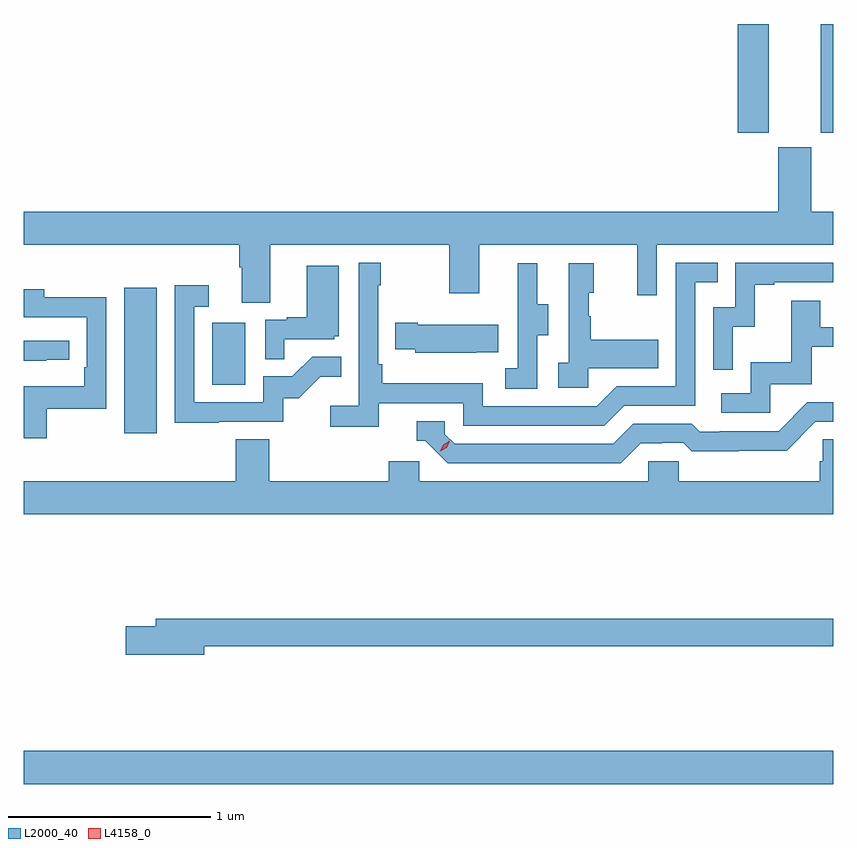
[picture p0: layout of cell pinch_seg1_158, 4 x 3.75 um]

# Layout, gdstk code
import gdstk
lib = gdstk.Library(unit=1e-6, precision=1e-09)
def R(c, l, rs):  # rectangles x0, y0, x1, y1
    for r in rs: c.add(gdstk.rectangle(r[:2], r[2:], *l))
def P(c, l, *ps):  # polygons
    for p in ps: c.add(gdstk.Polygon(p, *l))
L2000_40 = (2000, 40)
L4158_0 = (4158, 0)

pinch_seg1_158 = lib.new_cell('pinch_seg1_158')
R(pinch_seg1_158, L2000_40, [(1083.469,553.064,1087.469,553.228), (1083.965,554.796,1084.126,555.517), (1084.4,555.036,1084.564,555.343), (1086.998,556.281,1087.15,556.819), (1087.406,556.281,1087.469,556.819)])
P(pinch_seg1_158, L2000_40, [(1084.687,555.728),(1085.572,555.728),(1085.572,555.489),(1085.719,555.489),(1085.719,555.728),(1086.5,555.728),(1086.5,555.48),(1086.597,555.48),(1086.597,555.728),(1087.469,555.728),(1087.469,555.892),(1087.36,555.892),(1087.36,556.209),(1087.196,556.209),(1087.196,555.892),(1083.469,555.892),(1083.469,555.728),(1084.535,555.728),(1084.535,555.616),(1084.547,555.616),(1084.547,555.442),(1084.687,555.442)],
  [(1085.222,554.946),(1085.64,554.946),(1085.64,554.835),(1086.337,554.835),(1086.436,554.934),(1086.786,554.934),(1086.786,555.543),(1086.899,555.543),(1086.899,555.639),(1086.69,555.639),(1086.69,555.03),(1086.399,555.03),(1086.3,554.931),(1085.736,554.931),(1085.736,555.043),(1085.24,555.043),(1085.24,555.139),(1085.22,555.139),(1085.22,555.527),(1085.233,555.527),(1085.233,555.64),(1085.124,555.64),(1085.124,554.932),(1084.983,554.932),(1084.983,554.83),(1085.222,554.83)],
  [(1086.972,555.323),(1087.082,555.323),(1087.082,555.531),(1087.177,555.531),(1087.177,555.543),(1087.469,555.543),(1087.469,555.639),(1086.984,555.639),(1086.984,555.42),(1086.876,555.42),(1086.876,555.111),(1086.972,555.111)],
  [(1086.258,555.119),(1086.605,555.119),(1086.605,555.259),(1086.271,555.259),(1086.271,555.374),(1086.261,555.374),(1086.261,555.492),(1086.286,555.492),(1086.286,555.637),(1086.162,555.637),(1086.162,555.146),(1086.111,555.146),(1086.111,555.021),(1086.258,555.021)],
  [(1086.006,555.28),(1086.061,555.28),(1086.061,555.435),(1086.007,555.435),(1086.007,555.637),(1085.909,555.637),(1085.909,555.423),(1085.91,555.423),(1085.91,555.119),(1085.847,555.119),(1085.847,555.016),(1086.006,555.016)],
  [(1084.757,555.261),(1085.004,555.261),(1085.004,555.276),(1085.026,555.276),(1085.026,555.625),(1084.868,555.625),(1084.868,555.37),(1084.769,555.37),(1084.769,555.357),(1084.662,555.357),(1084.662,555.163),(1084.757,555.163)],
  [(1084.433,554.853),(1084.752,554.853),(1084.752,554.97),(1084.828,554.97),(1084.935,555.077),(1085.039,555.077),(1085.039,555.176),(1084.895,555.176),(1084.797,555.078),(1084.653,555.078),(1084.653,554.949),(1084.311,554.949),(1084.311,555.423),(1084.384,555.423),(1084.384,555.529),(1084.215,555.529),(1084.215,554.848),(1084.433,554.848)],
  [(1083.583,554.919),(1083.876,554.919),(1083.876,555.47),(1083.571,555.47),(1083.571,555.508),(1083.469,555.508),(1083.469,555.369),(1083.78,555.369),(1083.78,555.124),(1083.767,555.124),(1083.767,555.028),(1083.469,555.028),(1083.469,554.772),(1083.583,554.772)],
  [(1087.158,555.039),(1087.363,555.039),(1087.363,555.225),(1087.469,555.225),(1087.469,555.321),(1087.405,555.321),(1087.405,555.451),(1087.261,555.451),(1087.261,555.148),(1087.062,555.148),(1087.062,554.994),(1086.915,554.994),(1086.915,554.898),(1087.158,554.898)],
  [(1085.705,555.197),(1085.813,555.197),(1085.813,555.334),(1085.416,555.334),(1085.416,555.342),(1085.305,555.342),(1085.305,555.212),(1085.403,555.212),(1085.403,555.194),(1085.705,555.194)],
  [(1083.581,555.159),(1083.694,555.159),(1083.694,555.255),(1083.469,555.255),(1083.469,555.154),(1083.581,555.154)],
  [(1086.517,554.748),(1086.624,554.748),(1086.624,554.751),(1086.727,554.751),(1086.769,554.709),(1087.002,554.709),(1087.002,554.711),(1087.238,554.711),(1087.38,554.853),(1087.469,554.853),(1087.469,554.949),(1087.341,554.949),(1087.2,554.808),(1086.907,554.808),(1086.907,554.805),(1086.808,554.805),(1086.769,554.844),(1086.48,554.844),(1086.381,554.745),(1085.598,554.745),(1085.55,554.793),(1085.55,554.856),(1085.411,554.856),(1085.411,554.76),(1085.454,554.76),(1085.565,554.649),(1086.418,554.649)],
  [(1087.469,554.768),(1087.417,554.768),(1087.417,554.658),(1087.403,554.658),(1087.403,554.56),(1086.705,554.56),(1086.705,554.658),(1086.555,554.658),(1086.555,554.56),(1085.424,554.56),(1085.424,554.658),(1085.273,554.658),(1085.273,554.56),(1084.682,554.56),(1084.682,554.768),(1084.517,554.768),(1084.517,554.56),(1083.469,554.56),(1083.469,554.396),(1087.469,554.396)],
  [(1084.36,553.744),(1087.469,553.744),(1087.469,553.88),(1084.121,553.88),(1084.121,553.844),(1083.972,553.844),(1083.972,553.702),(1084.36,553.702)])
P(pinch_seg1_158, L4158_0, [(1085.527,554.707),(1085.527,554.707),(1085.543,554.74),(1085.574,554.759),(1085.574,554.759),(1085.574,554.759),(1085.558,554.726),(1085.527,554.707)])

lib.write_gds('pinch_seg1_158.gds')
